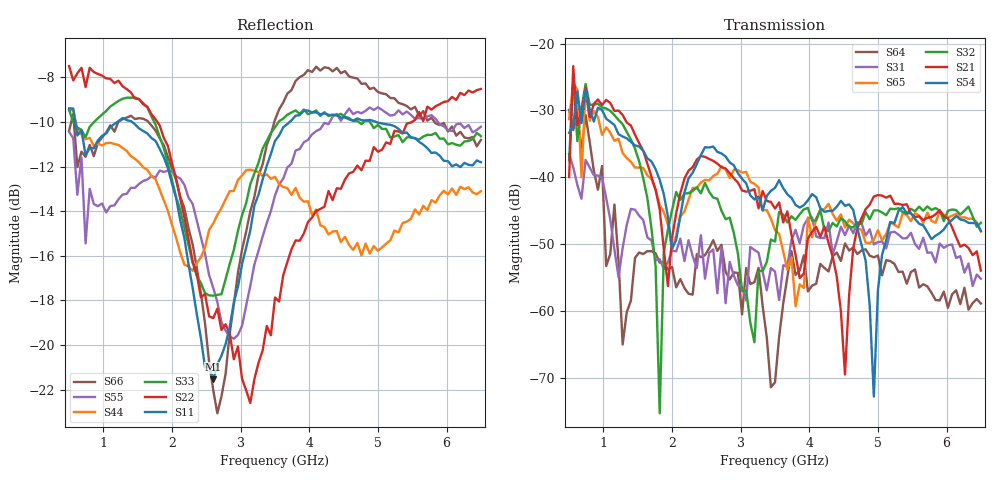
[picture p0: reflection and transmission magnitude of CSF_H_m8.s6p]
!Keysight Technologies,M9804A,MY58100912,A.14.10.03
!Date: Thursday, April 27, 2023 10:28:33
!Correction: S11(C  6-Port  )
!S12(C  6-Port  )
!S13(C  6-Port  )
!S14(C  6-Port  )
!S15(C  6-Port  )
!S16(C  6-Port  )
!S21(C  6-Port  )
!S22(C  6-Port  )
!S23(C  6-Port  )
!S24(C  6-Port  )
!S25(C  6-Port  )
!S26(C  6-Port  )
!S31(C  6-Port  )
!S32(C  6-Port  )
!S33(C  6-Port  )
!S34(C  6-Port  )
!S35(C  6-Port  )
!S36(C  6-Port  )
!S41(C  6-Port  )
!S42(C  6-Port  )
!S43(C  6-Port  )
!S44(C  6-Port  )
!S45(C  6-Port  )
!S46(C  6-Port  )
!S51(C  6-Port  )
!S52(C  6-Port  )
!S53(C  6-Port  )
!S54(C  6-Port  )
!S55(C  6-Port  )
!S56(C  6-Port  )
!S61(C  6-Port  )
!S62(C  6-Port  )
!S63(C  6-Port  )
!S64(C  6-Port  )
!S65(C  6-Port  )
!S66(C  6-Port  )
!S6P File: Measurement: :
# Hz S  RI  R 50
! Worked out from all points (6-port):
!   101 points, 500 MHz to 6.5 GHz, reference 50 ohm
!   strongest paths, dB at 500 MHz, 2 GHz, 3.5 GHz, 5 GHz, 6.5 GHz:
!     S54: -33.4, -50.6, -41.6, -56.9, -48.1
!     S21: -40.0, -49.0, -44.7, -42.7, -54.0
!     S32: -37.5, -44.9, -49.6, -45.0, -46.8
!     S65: -31.3, -50.9, -47.9, -47.9, -48.1
!     S31: -36.5, -51.0, -54.1, -49.7, -55.2
!     S64: -29.9, -53.4, -70.7, -51.7, -58.9
!   lowest |S11| = -21.5 dB at 2.6 GHz (marker M1), VSWR 1.18, Z = 42.6 + j2.17 ohm
!   |S11| at or under -10 dB: 590 MHz to 1.201 GHz (610.8 MHz wide, 68.2 % of centre); 1.417 GHz to 3.713 GHz (2.296 GHz wide, 89.5 % of centre); 4.975 GHz to end of sweep
